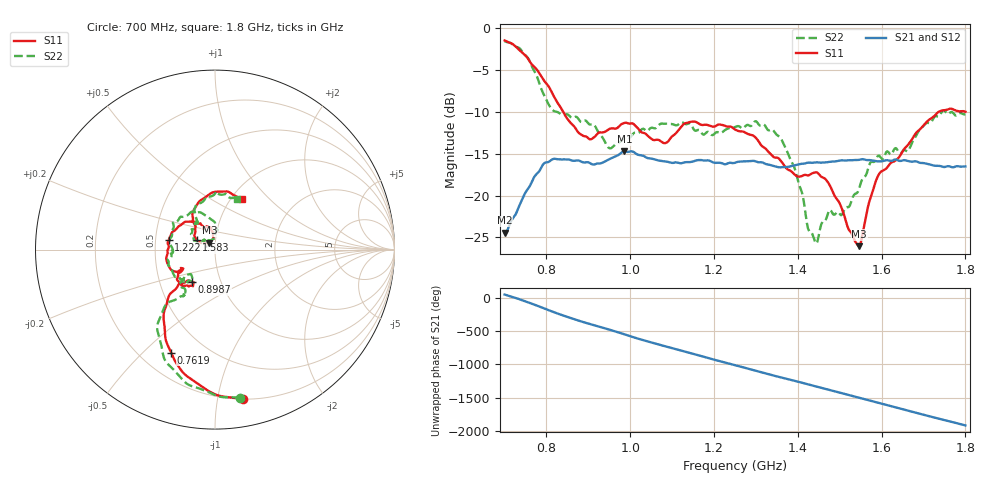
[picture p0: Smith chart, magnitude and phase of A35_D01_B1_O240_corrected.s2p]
! Created with skrf 1.9.0 (http://scikit-rf.org).
# Hz S RI R 50.0
!freq ReS11 ImS11 ReS21 ImS21 ReS12 ImS12 ReS22 ImS22
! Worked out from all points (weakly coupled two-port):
!   1601 points, 700 MHz to 1.8 GHz, reference 50 ohm
!   highest |S21| = -14.69 dB at 986 MHz (marker M1); lowest = -24.5 dB at 700 MHz (marker M2)
!   lowest |S11| = -26.1 dB at 1.546 GHz (marker M3), VSWR 1.10, Z = 46.8 + j3.65 ohm
!   |S11| at or under -10 dB: 839.8 MHz to 1.736 GHz (895.9 MHz wide, 69.6 % of centre)
!   |S22| runs from -25.7 to -1.5 dB; largest |S21 - S12| = 0.0036
!   S11 on the Smith chart (normalised r, x): 700 MHz: 0.20, -1.19; 761.9 MHz: 0.33, -0.61; 898.7 MHz: 0.73, -0.28; 1.222 GHz: 0.59, +0.07; 1.583 GHz: 0.81, +0.09; 1.8 GHz: 1.12, +0.70
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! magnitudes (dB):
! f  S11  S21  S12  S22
! 700 MHz  -1.4  -24.5  -24.2  -1.5
! 761.9 MHz  -4.1  -18.7  -18.6  -4.2
! 812.1 MHz  -7.6  -15.7  -15.7  -9.7
! 883.6 MHz  -12.7  -16.0  -15.9  -11.2
! 898.7 MHz  -13.1  -16.0  -16.1  -11.3
! 950.2 MHz  -12.0  -15.6  -15.6  -14.3
! 986 MHz  -11.3  -14.7  -14.8  -13.1
! 1.067 GHz  -13.3  -15.8  -15.7  -11.6
! 1.222 GHz  -11.6  -16.2  -16.2  -12.3
! 1.25 GHz  -12.1  -16.1  -16.0  -11.8
! 1.359 GHz  -15.8  -16.6  -16.6  -13.1
! 1.393 GHz  -17.5  -16.4  -16.4  -16.8
! 1.434 GHz  -17.4  -16.1  -16.1  -24.5
! 1.445 GHz  -17.2  -16.0  -16.0  -25.7
! 1.472 GHz  -18.4  -16.0  -16.0  -22.1
! 1.505 GHz  -21.6  -15.8  -15.8  -22.3
! 1.546 GHz  -26.1  -15.7  -15.7  -19.2
! 1.583 GHz  -18.7  -15.9  -15.9  -15.9
! 1.617 GHz  -16.4  -15.8  -15.8  -14.9
! 1.663 GHz  -14.0  -15.9  -15.9  -14.7
! 1.735 GHz  -10.0  -16.4  -16.5  -10.6
! 1.8 GHz  -10.0  -16.5  -16.5  -10.3
